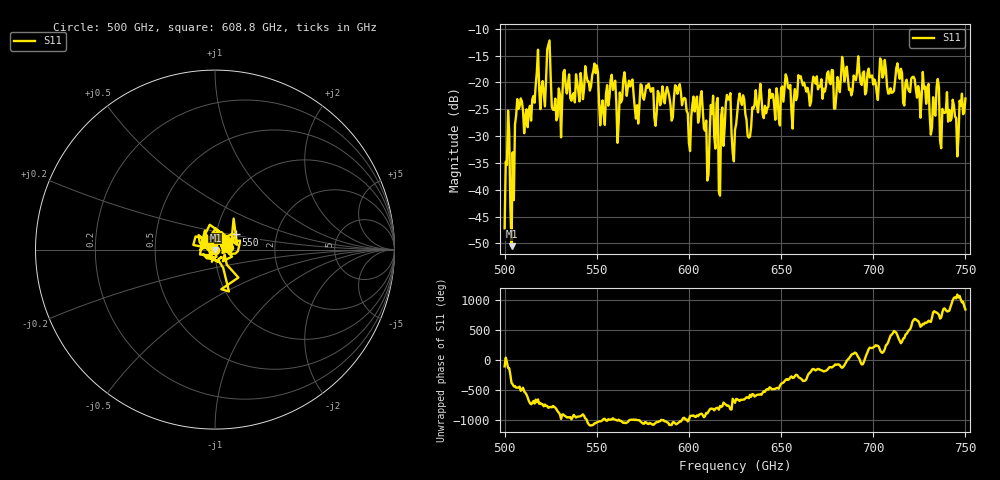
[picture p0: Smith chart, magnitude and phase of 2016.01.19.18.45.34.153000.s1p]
!Created with skrf (http://scikit-rf.org).
# GHz S RI R 50.0
!freq ReS11 ImS11
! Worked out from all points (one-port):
!   401 points, 500 GHz to 750 GHz, reference 50 ohm
!   lowest |S11| = -50.5 dB at 503.8 GHz (marker M1), VSWR 1.01, Z = 50.3 - j0.135 ohm
!   |S11| at or under -10 dB: start of sweep to end of sweep
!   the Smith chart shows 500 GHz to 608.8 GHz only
!   S11 on the Smith chart (normalised r, x): 500 GHz: 1.00, -0.01; 550 GHz: 1.24, +0.21; 608.8 GHz: 0.95, +0.04
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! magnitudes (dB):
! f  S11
! 500 GHz  -47.2
! 501.9 GHz  -25.3
! 503.8 GHz  -50.5
! 508.1 GHz  -24.5
! 520.6 GHz  -19.8
! 523.8 GHz  -13.0
! 526.9 GHz  -25.1
! 531.2 GHz  -23.3
! 550 GHz  -16.8
! 553.1 GHz  -23.4
! 558.8 GHz  -21.4
! 562.5 GHz  -21.9
! 565.6 GHz  -20.0
! 571.9 GHz  -24.3
! 593.8 GHz  -22.1
! 608.8 GHz  -29.0
! 614.4 GHz  -32.3
! 617.5 GHz  -26.2
! 621.2 GHz  -23.2
! 625 GHz  -28.8
! 628.1 GHz  -23.4
! 632.5 GHz  -30.3
! 637.5 GHz  -25.6
! 656.2 GHz  -28.6
! 687.5 GHz  -21.2
! 718.8 GHz  -21.1
! 737.5 GHz  -25.0
! 750 GHz  -23.0
